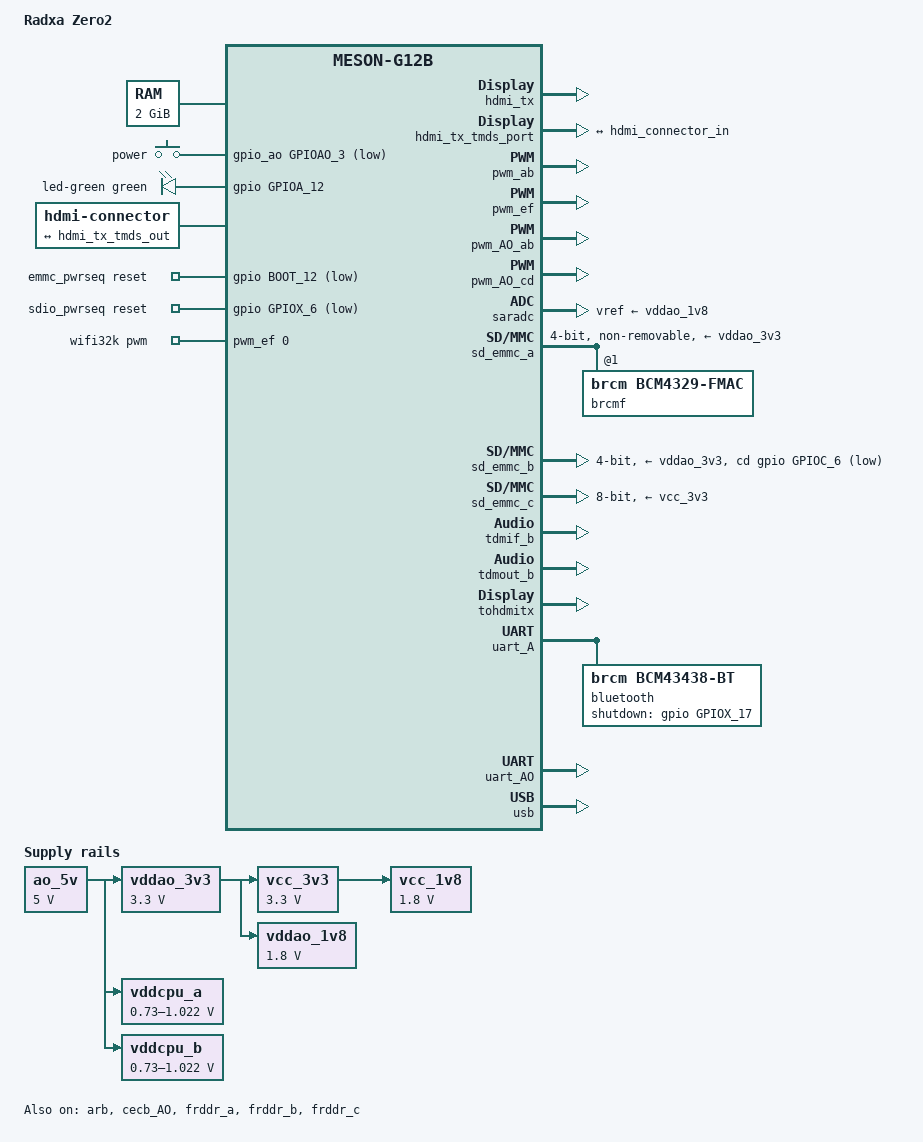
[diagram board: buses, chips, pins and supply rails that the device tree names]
// SPDX-License-Identifier: (GPL-2.0+ OR MIT)
/*
 * Copyright (c) 2019 BayLibre, SAS
 * Author: Neil Armstrong <narmstrong@baylibre.com>
 * Copyright (c) 2019 Christian Hewitt <christianshewitt@gmail.com>
 * Copyright (c) 2022 Radxa Limited
 * Author: Yuntian Zhang <yt@radxa.com>
 */

/dts-v1/;

#include "meson-g12b-a311d.dtsi"
#include <dt-bindings/input/input.h>
#include <dt-bindings/leds/common.h>
#include <dt-bindings/gpio/meson-g12a-gpio.h>
#include <dt-bindings/sound/meson-g12a-tohdmitx.h>

/ {
	compatible = "radxa,zero2", "amlogic,a311d", "amlogic,g12b";
	model = "Radxa Zero2";

	aliases {
		serial0 = &uart_AO;
		serial2 = &uart_A;
	};

	chosen {
		stdout-path = "serial0:115200n8";
	};

	memory@0 {
		device_type = "memory";
		reg = <0x0 0x0 0x0 0x80000000>;
	};

	gpio-keys-polled {
		compatible = "gpio-keys-polled";
		poll-interval = <100>;
		power-button {
			label = "power";
			linux,code = <KEY_POWER>;
			gpios = <&gpio_ao GPIOAO_3 (GPIO_ACTIVE_LOW | GPIO_PULL_UP)>;
		};
	};

	leds {
		compatible = "gpio-leds";

		led-green {
			color = <LED_COLOR_ID_GREEN>;
			function = LED_FUNCTION_STATUS;
			gpios = <&gpio GPIOA_12 GPIO_ACTIVE_HIGH>;
			linux,default-trigger = "heartbeat";
		};
	};

	hdmi-connector {
		compatible = "hdmi-connector";
		type = "a";

		port {
			hdmi_connector_in: endpoint {
				remote-endpoint = <&hdmi_tx_tmds_out>;
			};
		};
	};

	emmc_pwrseq: emmc-pwrseq {
		compatible = "mmc-pwrseq-emmc";
		reset-gpios = <&gpio BOOT_12 GPIO_ACTIVE_LOW>;
	};

	sdio_pwrseq: sdio-pwrseq {
		compatible = "mmc-pwrseq-simple";
		reset-gpios = <&gpio GPIOX_6 GPIO_ACTIVE_LOW>;
		clocks = <&wifi32k>;
		clock-names = "ext_clock";
	};

	ao_5v: regulator-ao-5v {
		compatible = "regulator-fixed";
		regulator-name = "AO_5V";
		regulator-min-microvolt = <5000000>;
		regulator-max-microvolt = <5000000>;
		regulator-always-on;
	};

	vcc_1v8: regulator-vcc-1v8 {
		compatible = "regulator-fixed";
		regulator-name = "VCC_1V8";
		regulator-min-microvolt = <1800000>;
		regulator-max-microvolt = <1800000>;
		vin-supply = <&vcc_3v3>;
		regulator-always-on;
	};

	vcc_3v3: regulator-vcc-3v3 {
		compatible = "regulator-fixed";
		regulator-name = "VCC_3V3";
		regulator-min-microvolt = <3300000>;
		regulator-max-microvolt = <3300000>;
		vin-supply = <&vddao_3v3>;
		regulator-always-on;
		/* FIXME: actually controlled by VDDCPU_B_EN */
	};

	vddao_1v8: regulator-vddao-1v8 {
		compatible = "regulator-fixed";
		regulator-name = "VDDIO_AO1V8";
		regulator-min-microvolt = <1800000>;
		regulator-max-microvolt = <1800000>;
		vin-supply = <&vddao_3v3>;
		regulator-always-on;
	};

	vddao_3v3: regulator-vddao-3v3 {
		compatible = "regulator-fixed";
		regulator-name = "VDDAO_3V3";
		regulator-min-microvolt = <3300000>;
		regulator-max-microvolt = <3300000>;
		vin-supply = <&ao_5v>;
		regulator-always-on;
	};

	vddcpu_a: regulator-vddcpu-a {
		/*
		 * MP8756GD Regulator.
		 */
		compatible = "pwm-regulator";

		regulator-name = "VDDCPU_A";
		regulator-min-microvolt = <730000>;
		regulator-max-microvolt = <1022000>;

		pwm-supply = <&ao_5v>;

		pwms = <&pwm_ab 0 1250 0>;
		pwm-dutycycle-range = <100 0>;

		regulator-boot-on;
		regulator-always-on;
	};

	vddcpu_b: regulator-vddcpu-b {
		/*
		 * Silergy SY8120B1ABC Regulator.
		 */
		compatible = "pwm-regulator";

		regulator-name = "VDDCPU_B";
		regulator-min-microvolt = <730000>;
		regulator-max-microvolt = <1022000>;

		pwm-supply = <&ao_5v>;

		pwms = <&pwm_AO_cd 1 1250 0>;
		pwm-dutycycle-range = <100 0>;

		regulator-boot-on;
		regulator-always-on;
	};

	sound {
		compatible = "amlogic,axg-sound-card";
		model = "RADXA-ZERO2";
		audio-aux-devs = <&tdmout_b>;
		audio-routing = "TDMOUT_B IN 0", "FRDDR_A OUT 1",
				"TDMOUT_B IN 1", "FRDDR_B OUT 1",
				"TDMOUT_B IN 2", "FRDDR_C OUT 1",
				"TDM_B Playback", "TDMOUT_B OUT";

		assigned-clocks = <&clkc CLKID_MPLL2>,
				  <&clkc CLKID_MPLL0>,
				  <&clkc CLKID_MPLL1>;
		assigned-clock-parents = <0>, <0>, <0>;
		assigned-clock-rates = <294912000>,
				       <270950400>,
				       <393216000>;

		dai-link-0 {
			sound-dai = <&frddr_a>;
		};

		dai-link-1 {
			sound-dai = <&frddr_b>;
		};

		dai-link-2 {
			sound-dai = <&frddr_c>;
		};

		/* 8ch hdmi interface */
		dai-link-3 {
			sound-dai = <&tdmif_b>;
			dai-format = "i2s";
			dai-tdm-slot-tx-mask-0 = <1 1>;
			dai-tdm-slot-tx-mask-1 = <1 1>;
			dai-tdm-slot-tx-mask-2 = <1 1>;
			dai-tdm-slot-tx-mask-3 = <1 1>;
			mclk-fs = <256>;

			codec {
				sound-dai = <&tohdmitx TOHDMITX_I2S_IN_B>;
			};
		};

		/* hdmi glue */
		dai-link-4 {
			sound-dai = <&tohdmitx TOHDMITX_I2S_OUT>;

			codec {
				sound-dai = <&hdmi_tx>;
			};
		};
	};

	wifi32k: clock-0 {
		compatible = "pwm-clock";
		#clock-cells = <0>;
		clock-frequency = <32768>;
		pwms = <&pwm_ef 0 30518 0>; /* PWM_E at 32.768KHz */
	};
};

&arb {
	status = "okay";
};

&cec_AO {
	pinctrl-0 = <&cec_ao_a_h_pins>;
	pinctrl-names = "default";
	status = "disabled";
	hdmi-phandle = <&hdmi_tx>;
};

&cecb_AO {
	pinctrl-0 = <&cec_ao_b_h_pins>;
	pinctrl-names = "default";
	status = "okay";
	hdmi-phandle = <&hdmi_tx>;
};

&clkc_audio {
	status = "okay";
};

&cpu0 {
	cpu-supply = <&vddcpu_b>;
	operating-points-v2 = <&cpu_opp_table_0>;
	clocks = <&clkc CLKID_CPU_CLK>;
	clock-latency = <50000>;
};

&cpu1 {
	cpu-supply = <&vddcpu_b>;
	operating-points-v2 = <&cpu_opp_table_0>;
	clocks = <&clkc CLKID_CPU_CLK>;
	clock-latency = <50000>;
};

&cpu100 {
	cpu-supply = <&vddcpu_a>;
	operating-points-v2 = <&cpub_opp_table_1>;
	clocks = <&clkc CLKID_CPUB_CLK>;
	clock-latency = <50000>;
};

&cpu101 {
	cpu-supply = <&vddcpu_a>;
	operating-points-v2 = <&cpub_opp_table_1>;
	clocks = <&clkc CLKID_CPUB_CLK>;
	clock-latency = <50000>;
};

&cpu102 {
	cpu-supply = <&vddcpu_a>;
	operating-points-v2 = <&cpub_opp_table_1>;
	clocks = <&clkc CLKID_CPUB_CLK>;
	clock-latency = <50000>;
};

&cpu103 {
	cpu-supply = <&vddcpu_a>;
	operating-points-v2 = <&cpub_opp_table_1>;
	clocks = <&clkc CLKID_CPUB_CLK>;
	clock-latency = <50000>;
};

&frddr_a {
	status = "okay";
};

&frddr_b {
	status = "okay";
};

&frddr_c {
	status = "okay";
};

&gpio {
	gpio-line-names =
		/* GPIOZ */
		"PIN_27", "PIN_28", "PIN_7", "PIN_11", "PIN_13", "PIN_15", "PIN_18", "PIN_40",
		"", "", "", "", "", "", "", "",
		/* GPIOH */
		"", "", "", "", "PIN_19", "PIN_21", "PIN_24", "PIN_23",
		"",
		/* BOOT */
		"", "", "", "", "", "", "", "",
		"", "", "", "", "EMMC_PWRSEQ", "", "", "",
		/* GPIOC */
		"", "", "", "", "", "", "SD_CD", "PIN_36",
		/* GPIOA */
		"PIN_32", "PIN_12", "PIN_35", "", "", "PIN_38", "", "",
		"", "", "", "", "LED_GREEN", "PIN_31", "PIN_3", "PIN_5",
		/* GPIOX */
		"", "", "", "", "", "", "SDIO_PWRSEQ", "",
		"", "", "", "", "", "", "", "",
		"", "BT_SHUTDOWN", "", "";
};

&gpio_ao {
	gpio-line-names =
		/* GPIOAO */
		"PIN_8", "PIN_10", "", "BTN_POWER", "", "", "", "PIN_29",
		"PIN_33", "PIN_37", "FAN", "",
		/* GPIOE */
		"", "", "";
};

&hdmi_tx {
	status = "okay";
	pinctrl-0 = <&hdmitx_hpd_pins>, <&hdmitx_ddc_pins>;
	pinctrl-names = "default";
	hdmi-supply = <&ao_5v>;
};

&hdmi_tx_tmds_port {
	hdmi_tx_tmds_out: endpoint {
		remote-endpoint = <&hdmi_connector_in>;
	};
};

&ir {
	status = "disabled";
	pinctrl-0 = <&remote_input_ao_pins>;
	pinctrl-names = "default";
};

&pwm_ab {
	pinctrl-0 = <&pwm_a_e_pins>;
	pinctrl-names = "default";
	clocks = <&xtal>;
	clock-names = "clkin0";
	status = "okay";
};

&pwm_ef {
	pinctrl-0 = <&pwm_e_pins>;
	pinctrl-names = "default";
	clocks = <&xtal>;
	clock-names = "clkin0";
	status = "okay";
};

&pwm_AO_ab {
	pinctrl-0 = <&pwm_ao_a_pins>;
	pinctrl-names = "default";
	clocks = <&xtal>;
	clock-names = "clkin0";
	status = "okay";
};

&pwm_AO_cd {
	pinctrl-0 = <&pwm_ao_d_e_pins>;
	pinctrl-names = "default";
	clocks = <&xtal>;
	clock-names = "clkin1";
	status = "okay";
};

&saradc {
	status = "okay";
	vref-supply = <&vddao_1v8>;
};

/* SDIO */
&sd_emmc_a {
	status = "okay";
	pinctrl-0 = <&sdio_pins>;
	pinctrl-1 = <&sdio_clk_gate_pins>;
	pinctrl-names = "default", "clk-gate";
	#address-cells = <1>;
	#size-cells = <0>;

	bus-width = <4>;
	cap-sd-highspeed;
	max-frequency = <100000000>;

	non-removable;
	disable-wp;

	/* WiFi firmware requires power to be kept while in suspend */
	keep-power-in-suspend;

	mmc-pwrseq = <&sdio_pwrseq>;

	vmmc-supply = <&vddao_3v3>;
	vqmmc-supply = <&vddao_1v8>;

	brcmf: wifi@1 {
		reg = <1>;
		compatible = "brcm,bcm4329-fmac";
	};
};

/* SD card */
&sd_emmc_b {
	status = "okay";
	pinctrl-0 = <&sdcard_c_pins>;
	pinctrl-1 = <&sdcard_clk_gate_c_pins>;
	pinctrl-names = "default", "clk-gate";

	bus-width = <4>;
	cap-sd-highspeed;
	max-frequency = <50000000>;
	disable-wp;

	cd-gpios = <&gpio GPIOC_6 GPIO_ACTIVE_LOW>;
	vmmc-supply = <&vddao_3v3>;
	vqmmc-supply = <&vddao_3v3>;
};

/* eMMC */
&sd_emmc_c {
	status = "okay";
	pinctrl-0 = <&emmc_ctrl_pins>, <&emmc_data_8b_pins>, <&emmc_ds_pins>;
	pinctrl-1 = <&emmc_clk_gate_pins>;
	pinctrl-names = "default", "clk-gate";

	bus-width = <8>;
	cap-mmc-highspeed;
	mmc-ddr-1_8v;
	mmc-hs200-1_8v;
	max-frequency = <200000000>;
	disable-wp;

	mmc-pwrseq = <&emmc_pwrseq>;
	vmmc-supply = <&vcc_3v3>;
	vqmmc-supply = <&vcc_1v8>;
};

&tdmif_b {
	status = "okay";
};

&tdmout_b {
	status = "okay";
};

&tohdmitx {
	status = "okay";
};

&uart_A {
	status = "okay";
	pinctrl-0 = <&uart_a_pins>, <&uart_a_cts_rts_pins>;
	pinctrl-names = "default";
	uart-has-rtscts;

	bluetooth {
		compatible = "brcm,bcm43438-bt";
		shutdown-gpios = <&gpio GPIOX_17 GPIO_ACTIVE_HIGH>;
		max-speed = <2000000>;
		clocks = <&wifi32k>;
		clock-names = "lpo";
	};
};

&uart_AO {
	status = "okay";
	pinctrl-0 = <&uart_ao_a_pins>;
	pinctrl-names = "default";
};

&usb {
	status = "okay";
};
